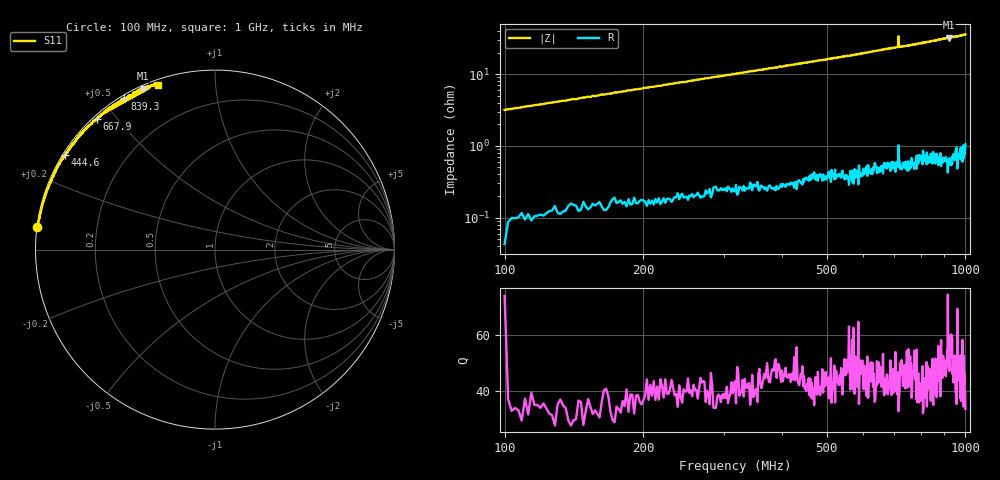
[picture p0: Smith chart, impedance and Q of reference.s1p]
# HZ S RI R 50
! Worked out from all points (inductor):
!   505 points, 100 MHz to 1 GHz, reference 50 ohm
!   read as one part to ground: L = 5.04 nH near 103.6 MHz
!   highest Q = 53.1 at 921.4 MHz (marker M1), where L = 5.58 nH
!   S11 on the Smith chart (normalised r, x): 100 MHz: 0.00, +0.06; 444.6 MHz: 0.01, +0.29; 667.9 MHz: 0.01, +0.44; 839.3 MHz: 0.01, +0.57; 1 GHz: 0.02, +0.71
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1e8  -0.9903 0.1259
2.125e8  -0.9573 0.2634
3.25e8  -0.9082 0.394
3.892857e8  -0.8755 0.4613
4.374999e8  -0.8429 0.5157
4.446428e8  -0.835 0.5269
5.499999e8  -0.7606 0.6277
5.892856e8  -0.7327 0.6586
6.624999e8  -0.6659 0.7275
6.678571e8  -0.6575 0.7284
7.107142e8  -0.615 0.7662
7.124999e8  -0.6204 0.7589
7.196428e8  -0.6103 0.7679
7.214285e8  -0.6163 0.7678
7.749999e8  -0.5681 0.8047
8.089285e8  -0.5202 0.8236
8.392856e8  -0.505 0.8424
8.464285e8  -0.4866 0.8505
8.571427e8  -0.483 0.8537
8.749999e8  -0.4508 0.8718
8.874999e8  -0.4427 0.875
9.107142e8  -0.418 0.888
9.142856e8  -0.4176 0.8895
9.214284e8  -0.4029 0.8958
9.55357e8  -0.3747 0.906
9.642856e8  -0.367 0.9086
9.785713e8  -0.3379 0.9143
9.999999e8  -0.3167 0.9194
